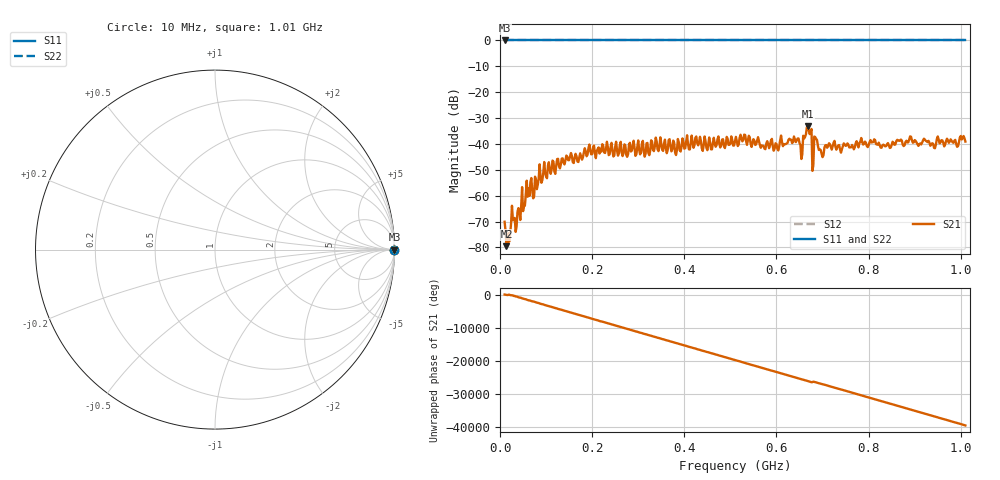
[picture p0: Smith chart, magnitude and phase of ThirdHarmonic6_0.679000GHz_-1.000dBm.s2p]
! 8/15/2025 10:38:42 PM
! C:\ANRITSUVNA\TEMP\TEMP.S2P
! CHANNEL.1
! TR.MEASUREMENT
! RAW.DATA
! RF.CORRECTION.OFF
! AVERAGING.OFF
! IF.BANDWIDTH: 5KHZ
! SWEEPTYPE:  FREQ.SWEEP(Linear)
! Reference Plane Port Info
! PORT:  PORT1  PORT2
! DISTANCE:  0  m  0  m
! TIME:  0  s  0  s
! PHASE.OFFSET:  0  deg.  0  deg.
! LOSS:  0  dB  0  dB
! REF.LOSS:  0  dB  0  dB
! REF.FREQ:  0  Hz  0  Hz
! Power Info
! POWER:  -20  dBm  -20  dBm
! EFF.POWER:  -20  dBm  -20  dBm
! SOURCE.ATTEN:  0  dB  0  dB
! TEST.ATTEN:  0  dB  0  dB
# GHZ S RI R 50.0
! FREQ.GHZ  S11RE  S11IM  S21RE  S21IM  S12RE  S12IM  S22RE  S22IM
!; PortSelection: Port_12
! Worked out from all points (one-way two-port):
!   501 points, 10 MHz to 1.01 GHz, reference 50 ohm
!   highest |S21| = -33.09 dB at 668 MHz (marker M1); lowest = -79.5 dB at 14 MHz (marker M2)
!   lowest |S11| = 0.0 dB at 10 MHz (marker M3)
!   |S11| at or under -10 dB: nowhere
!   |S22| runs from 0.0 to 0.0 dB; largest |S21 - S12| = 1
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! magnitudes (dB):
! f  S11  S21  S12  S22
! 10 MHz  0.0  -70.1  0.0  0.0
! 14 MHz  0.0  -79.5  0.0  0.0
! 18 MHz  0.0  -74.4  0.0  0.0
! 28 MHz  0.0  -69.5  0.0  0.0
! 34 MHz  0.0  -74.0  0.0  0.0
! 62 MHz  0.0  -57.1  0.0  0.0
! 110 MHz  0.0  -51.5  0.0  0.0
! 178 MHz  0.0  -46.1  0.0  0.0
! 344 MHz  0.0  -42.8  0.0  0.0
! 510 MHz  0.0  -39.0  0.0  0.0
! 598 MHz  0.0  -39.7  0.0  0.0
! 642 MHz  0.0  -39.3  0.0  0.0
! 652 MHz  0.0  -40.4  0.0  0.0
! 668 MHz  0.0  -33.1  0.0  0.0
! 672 MHz  0.0  -36.2  0.0  0.0
! 678 MHz  0.0  -50.4  0.0  0.0
! 682 MHz  0.0  -37.1  0.0  0.0
! 686 MHz  0.0  -38.0  0.0  0.0
! 698 MHz  0.0  -43.9  0.0  0.0
! 712 MHz  0.0  -40.9  0.0  0.0
! 844 MHz  0.0  -40.7  0.0  0.0
! 1.01 GHz  0.0  -39.1  0.0  0.0
